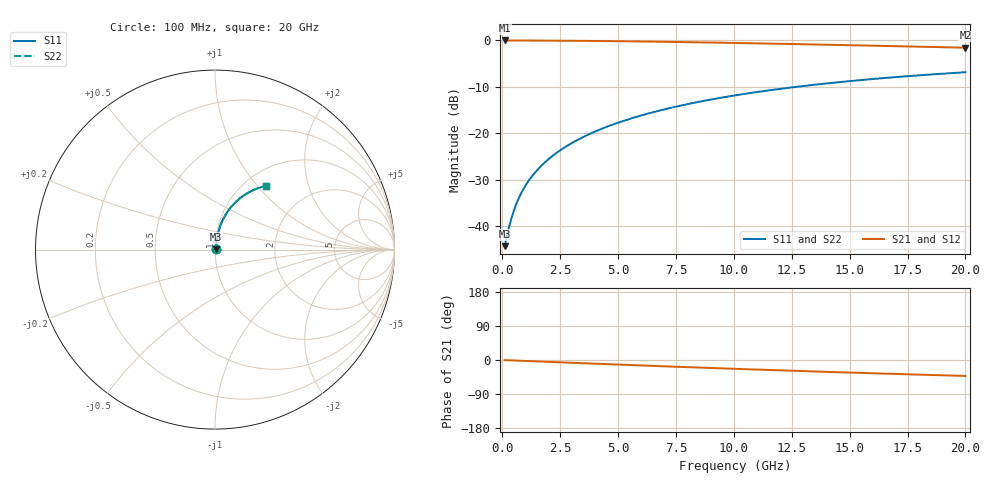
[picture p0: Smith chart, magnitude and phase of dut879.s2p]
! Touchstone file exported from HFSS 2024.1.0
!  File:  C:/UserFiles/LocalFiles/RDL_TSV_Batchsim/temp_RDL_top_879_1779856720.aedt
!  Generated:  12:41:21 PM May 27, 2026
!  Design:  RDL_top
!  Project:  temp_RDL_top_879_1779856720
!  Setup:  Setup1
!  Solution:  Sweep
! Variables:
!  dtsv = 10.80580581um
!  hbump = 3um
!  htsv = 91.69um
!  ldown = 100um
!  lrdl = 546.12um
!  p = 40
!  p1 = 46.64um
!  rhole = 1um
!  t = 450um
!  tdown = 3.915915916um
!  trdl = 2.58um
!  wdown = 15.38538539um
!  wrdl = 14.15um
# GHz S MA R 50.000000
! Terminal data exported
! Port[1] = Box2_T1
! Port[2] = Box2_T2
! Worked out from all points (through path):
!   200 points, 100 MHz to 20 GHz, reference 50 ohm
!   highest |S21| = -0.05 dB at 100 MHz (marker M1); lowest = -1.6 dB at 20 GHz (marker M2)
!   group delay of S21, straight-line fit = 5.85 ps
!   lowest |S11| = -44.3 dB at 100 MHz (marker M3), VSWR 1.01, Z = 50.5 + j0.277 ohm
!   |S11| at or under -10 dB: start of sweep to 12.75 GHz
!   |S22| runs from -44.3 to -6.9 dB; largest |S21 - S12| = 2.1e-15
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0.1  0.006084 26.7  0.9946 -0.3  0.9946 -0.3  0.006084 26.7
! Gamma 0 0 0 0
! Port Impedance 50 0 50 0
0.3  0.009918 55.3  0.9944 -0.8  0.9944 -0.8  0.009918 55.3
0.4  0.01228 61.7  0.9942 -1.0  0.9942 -1.0  0.01228 61.7
0.5  0.01472 65.9  0.994 -1.3  0.994 -1.3  0.01472 65.9
0.6  0.0172 68.9  0.9938 -1.5  0.9938 -1.5  0.0172 68.9
0.7  0.0197 71.0  0.9936 -1.8  0.9936 -1.8  0.0197 71.0
0.9  0.02472 73.9  0.9932 -2.2  0.9932 -2.2  0.02472 73.9
1.2  0.03228 76.5  0.9926 -3.0  0.9926 -3.0  0.03228 76.5
1.4  0.03734 77.6  0.9922 -3.5  0.9922 -3.5  0.03734 77.6
1.7  0.04495 78.6  0.9914 -4.2  0.9914 -4.2  0.04495 78.6
2.2  0.05771 79.5  0.99 -5.4  0.99 -5.4  0.05771 79.5
2.8  0.07309 79.7  0.9878 -6.9  0.9878 -6.9  0.07309 79.7
3.5  0.09108 79.4  0.9848 -8.5  0.9848 -8.5  0.09107 79.4
4.2  0.1091 78.8  0.9812 -10.2  0.9812 -10.2  0.1091 78.8
5  0.1296 77.8  0.9765 -12.1  0.9765 -12.1  0.1296 77.8
5.9  0.1526 76.5  0.9704 -14.2  0.9704 -14.2  0.1526 76.5
6.8  0.1754 75.0  0.9637 -16.2  0.9637 -16.2  0.1754 75.0
8.4  0.2153 72.2  0.9503 -19.8  0.9503 -19.8  0.2152 72.2
10.1  0.2562 69.1  0.9346 -23.4  0.9346 -23.4  0.2562 69.1
13.4  0.3303 63.0  0.9012 -30.1  0.9012 -30.1  0.3302 63.0
16.7  0.3959 57.1  0.8661 -36.3  0.8661 -36.3  0.3958 57.0
20  0.4527 51.5  0.831 -42.1  0.831 -42.1  0.4526 51.5
